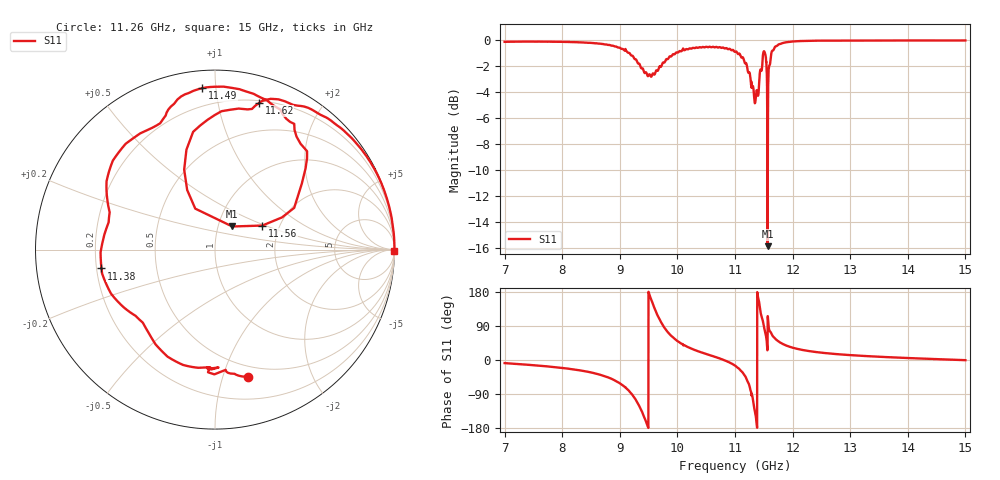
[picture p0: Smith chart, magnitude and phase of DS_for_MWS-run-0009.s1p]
! TOUCHSTONE file generated by CST DESIGN STUDIO
! Date and time: Mon Feb 10 16:50:56 2025
! Project name: C:\Work\MatlabApps\UnitCellType2OptimizationMatlab\CST\unitcell.cst
! Tree item: Tasks\Sweep1\SPara1\S-Parameters
! Header version: 2024
! Port assignment regex: !\s*Touchstone port\s*([0-9]+)\s*=\s*(CST MWS port|CST DES external port|CST DES block port)\s*(.+)\s* \(\"(.*)\"\)(\s*mode\s*([0-9]+))?.*
! Touchstone port assignment:
! Touchstone port 1 = CST DES external port 1 ("")
# GHz S MA R 50
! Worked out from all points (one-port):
!   4001 points, 7 GHz to 15 GHz, reference 50 ohm
!   lowest |S11| = -15.9 dB at 11.57 GHz (marker M1), VSWR 1.38, Z = 58.5 + j15.5 ohm
!   |S11| at or under -10 dB: 11.5636 GHz to 11.5692 GHz (5.598 MHz wide, 0.0484 % of centre)
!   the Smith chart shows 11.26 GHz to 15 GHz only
!   S11 on the Smith chart (normalised r, x): 11.26 GHz: 0.40, -1.22; 11.38 GHz: 0.22, -0.08; 11.49 GHz: 0.10, +0.92; 11.56 GHz: 1.63, +0.48; 11.62 GHz: 0.22, +1.32; 15 GHz: open
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7  0.9879 -8.2
8  0.9876 -20.9
8.622  0.9724 -37.3
9  0.9372 -61.5
9.292  0.8366 -109.1
9.378  0.78 -133.9
9.492  0.7289 -177.8
9.61  0.7436 134.4
9.712  0.7929 100.6
9.85  0.8579 71.0
10  0.8975 50.0
10.42  0.9397 20.0
11  0.9036 -14.7
11.158  0.8328 -39.3
11.262  0.7336 -75.4
11.324  0.6387 -117.6
11.378  0.6411 -170.6
11.436  0.7628 134.5
11.494  0.9021 94.4
11.524  0.8849 73.3
11.564  0.2957 26.9
11.566  0.1608 53.2
11.62  0.8526 73.3
11.752  0.9639 49.4
12  0.9908 32.5
13  0.9995 12.9
14  0.9999 5.2
15  0.9999 -0.4
